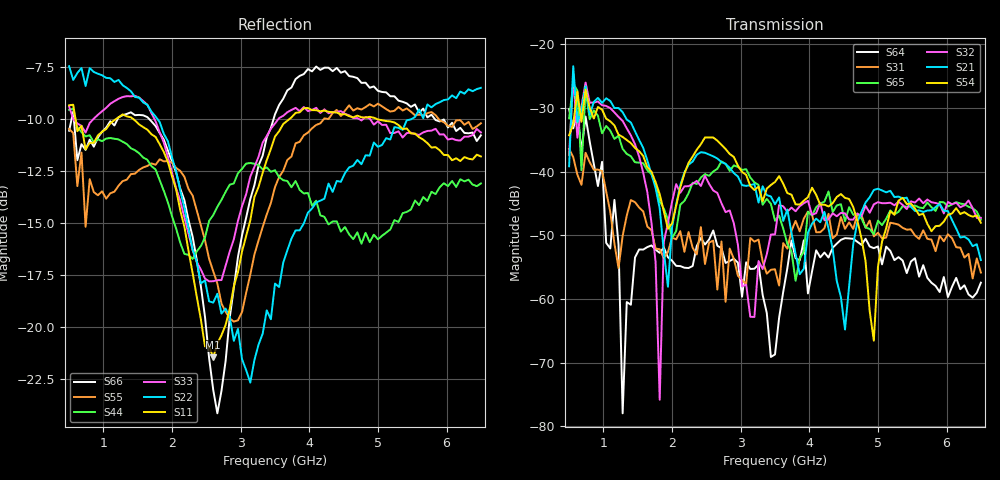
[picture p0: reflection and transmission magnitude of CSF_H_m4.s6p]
!Keysight Technologies,M9804A,MY58100912,A.14.10.03
!Date: Thursday, April 27, 2023 10:28:33
!Correction: S11(C  6-Port  )
!S12(C  6-Port  )
!S13(C  6-Port  )
!S14(C  6-Port  )
!S15(C  6-Port  )
!S16(C  6-Port  )
!S21(C  6-Port  )
!S22(C  6-Port  )
!S23(C  6-Port  )
!S24(C  6-Port  )
!S25(C  6-Port  )
!S26(C  6-Port  )
!S31(C  6-Port  )
!S32(C  6-Port  )
!S33(C  6-Port  )
!S34(C  6-Port  )
!S35(C  6-Port  )
!S36(C  6-Port  )
!S41(C  6-Port  )
!S42(C  6-Port  )
!S43(C  6-Port  )
!S44(C  6-Port  )
!S45(C  6-Port  )
!S46(C  6-Port  )
!S51(C  6-Port  )
!S52(C  6-Port  )
!S53(C  6-Port  )
!S54(C  6-Port  )
!S55(C  6-Port  )
!S56(C  6-Port  )
!S61(C  6-Port  )
!S62(C  6-Port  )
!S63(C  6-Port  )
!S64(C  6-Port  )
!S65(C  6-Port  )
!S66(C  6-Port  )
!S6P File: Measurement: :
# Hz S  RI  R 50
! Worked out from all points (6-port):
!   101 points, 500 MHz to 6.5 GHz, reference 50 ohm
!   strongest paths, dB at 500 MHz, 2 GHz, 3.5 GHz, 5 GHz, 6.5 GHz:
!     S54: -34.3, -48.1, -41.6, -55.0, -48.0
!     S21: -39.2, -48.7, -45.1, -42.7, -53.9
!     S32: -37.4, -44.7, -49.9, -44.8, -47.3
!     S65: -31.7, -50.5, -47.7, -47.7, -47.6
!     S31: -36.4, -50.4, -55.3, -49.6, -55.8
!     S64: -30.2, -54.0, -68.7, -51.7, -57.4
!   lowest |S11| = -21.4 dB at 2.6 GHz (marker M1), VSWR 1.18, Z = 42.5 + j2.14 ohm
!   |S11| at or under -10 dB: 591.7 MHz to 1.191 GHz (599.2 MHz wide, 67.2 % of centre); 1.427 GHz to 3.716 GHz (2.289 GHz wide, 89 % of centre); 4.975 GHz to end of sweep
